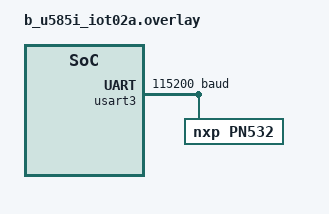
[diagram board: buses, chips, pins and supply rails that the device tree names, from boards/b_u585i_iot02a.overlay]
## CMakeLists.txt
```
# SPDX-License-Identifier: Apache-2.0

cmake_minimum_required(VERSION 3.20.0)
find_package(Zephyr REQUIRED HINTS $ENV{ZEPHYR_BASE})
project(zephyr_nfc_hce)

if (CONFIG_NETWORKING)
  include(${ZEPHYR_BASE}/samples/net/common/common.cmake)
endif()

target_sources(app PRIVATE
    src/main.c
    src/web.c
)

zephyr_sources_ifdef(APP_AUTH_ENABLED src/auth.c)
zephyr_sources_ifdef(APP_WEB_ENABLED src/web.c)
zephyr_sources_ifdef(APP_SOCKET_SERVER_ENABLED src/socket_server.c)

zephyr_linker_sources(SECTIONS sections-rom.ld)
zephyr_linker_section(NAME http_resource_desc_web_service KVMA RAM_REGION GROUP RODATA_REGION)

set(gen_dir ${ZEPHYR_BINARY_DIR}/include/generated/)

find_program(PURGECSS_EXECUTABLE purgecss)

if(NOT PURGECSS_EXECUTABLE)
    message(FATAL_ERROR "purgecss not found")
endif()

set(PURGED_BOOTSTRAP ${CMAKE_BINARY_DIR}/bootstrap.purged.min.css)

add_custom_command(
    OUTPUT ${PURGED_BOOTSTRAP}
    COMMAND ${PURGECSS_EXECUTABLE}
        --css ${CMAKE_CURRENT_SOURCE_DIR}/web/bootstrap.min.css
        --content
            ${CMAKE_CURRENT_SOURCE_DIR}/web/index.html
            ${CMAKE_CURRENT_SOURCE_DIR}/web/script.js
        --safelist bg-danger text-white
        --output ${PURGED_BOOTSTRAP}
    DEPENDS
        ${CMAKE_CURRENT_SOURCE_DIR}/web/bootstrap.min.css
        ${CMAKE_CURRENT_SOURCE_DIR}/web/index.html
        ${CMAKE_CURRENT_SOURCE_DIR}/web/script.js
)

set(source_file_index web/index.html)
generate_inc_file_for_target(app ${source_file_index} ${gen_dir}/index.html.gz.inc --gzip)

set(source_file_bootstrap_purged_min_css ${PURGED_BOOTSTRAP})
generate_inc_file_for_target(app ${source_file_bootstrap_purged_min_css} ${gen_dir}/bootstrap.purged.min.css.gz.inc --gzip)

set(source_file_style web/style.css)
generate_inc_file_for_target(app ${source_file_style} ${gen_dir}/style.css.gz.inc --gzip)

set(source_file_script web/script.js)
generate_inc_file_for_target(app ${source_file_script} ${gen_dir}/script.js.gz.inc --gzip)
```

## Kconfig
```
menu "App Options"

config APP_AUTH
    bool "Enable auth application"
    default y
    help
        Enable this to activate and include auth application in the build

config APP_WEB
    bool "Enable web application"
    default y
    help
        Enable this to activate and include web application in the build

config APP_SOCKET_SERVER
    bool "Enable socket server application"
    default y
    help
        Enable this to activate and include socket server application in the build

endmenu # App Options

source "Kconfig.zephyr"
```

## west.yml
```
manifest:

  defaults:
    remote: zephyrproject

  remotes:
    - name: zephyrproject
      url-base: https://github.com/zephyrproject-rtos

    - name: bytefull
      url-base: https://github.com/bytefull

  projects:
    - name: zephyr
      repo-path: zephyr
      revision: v4.4.0
      path: zephyr
      import:
        path-prefix: dependencies
        name-allowlist:
          - cmsis_6
          - hal_stm32
          - tf-psa-crypto
          - mbedtls

    - name: pn532
      remote: bytefull
      revision: main
      repo-path: pn532
      path: dependencies/modules/pn532
      import: true

  self:
    path: application
```

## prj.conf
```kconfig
# Apps
CONFIG_APP_AUTH=n
CONFIG_APP_WEB=y
CONFIG_APP_SOCKET_SERVER=n

# Logging
CONFIG_LOG=y
CONFIG_LOG_INFO_COLOR_GREEN=y
CONFIG_LOG_DBG_COLOR_BLUE=y
CONFIG_LOG_OUTPUT_FORMAT_TIME_TIMESTAMP=y
CONFIG_LOG_OUTPUT_FORMAT_DATE_TIMESTAMP=y

# UART
CONFIG_SERIAL=y
CONFIG_UART_INTERRUPT_DRIVEN=y

# Shell
CONFIG_SHELL=y
CONFIG_KERNEL_SHELL=y

# Debugging
CONFIG_DEBUG=y
CONFIG_DEBUG_THREAD_INFO=y
CONFIG_NO_OPTIMIZATIONS=y
CONFIG_SIZE_OPTIMIZATIONS=n
CONFIG_THREAD_STACK_INFO=y
CONFIG_COMPILER_WARNINGS_AS_ERRORS=y
CONFIG_INIT_STACKS=y
CONFIG_STACK_USAGE=y
CONFIG_EARLY_CONSOLE=y
CONFIG_ENTROPY_GENERATOR=y
CONFIG_TEST_RANDOM_GENERATOR=y

# PN532 NFC module
# CONFIG_PN532=y
# CONFIG_PN532_LOG_LEVEL=0

# Hardware Entropy for Nonce generation
CONFIG_ENTROPY_GENERATOR=y

# Enable PSA Crypto API
CONFIG_MBEDTLS=y
CONFIG_MBEDTLS_PSA_CRYPTO_C=y
CONFIG_MBEDTLS_PSA_P256M_DRIVER_ENABLED=y

# PSA Features for ECDSA P-256
CONFIG_PSA_CRYPTO=y
CONFIG_PSA_WANT_KEY_TYPE_ECC_PUBLIC_KEY=y
CONFIG_PSA_WANT_ECC_SECP_R1_256=y
CONFIG_PSA_WANT_ALG_ECDSA=y
CONFIG_PSA_WANT_ALG_SHA_256=y

########################### Network configuration options ###########################
# Generic networking options
CONFIG_NETWORKING=y
CONFIG_NET_LOG=y
CONFIG_NET_SHELL=y
CONFIG_NET_UDP=y
CONFIG_NET_TCP=y
CONFIG_NET_IPV6=n
CONFIG_NET_IPV4=y
CONFIG_NET_SOCKETS=y
CONFIG_NET_STATISTICS=y
CONFIG_NET_CONNECTION_MANAGER=y

# Network buffers
CONFIG_NET_PKT_RX_COUNT=16
CONFIG_NET_PKT_TX_COUNT=16
CONFIG_NET_BUF_RX_COUNT=128
CONFIG_NET_BUF_TX_COUNT=128
CONFIG_NET_CONTEXT_NET_PKT_POOL=y

# IP address options
CONFIG_NET_MAX_CONTEXTS=32
CONFIG_NET_MAX_CONN=32

# Network application options and configuration
CONFIG_NET_CONFIG_SETTINGS=y
CONFIG_NET_CONFIG_NEED_IPV4=y
CONFIG_NET_CONFIG_MY_IPV4_ADDR="192.0.2.1"
CONFIG_NET_CONFIG_PEER_IPV4_ADDR="192.0.2.2"

# HTTP server
CONFIG_HTTP_PARSER_URL=y
CONFIG_HTTP_PARSER=y
CONFIG_HTTP_SERVER=y
CONFIG_HTTP_SERVER_CLIENT_BUFFER_SIZE=8192
CONFIG_NET_HTTP_SERVER_LOG_LEVEL_DBG=n
CONFIG_HTTP_SERVER_VERSION_1=y
CONFIG_HTTP_SERVER_VERSION_2=n
CONFIG_HTTP_SERVER_CLIENT_INACTIVITY_TIMEOUT=5
CONFIG_HTTP_SERVER_MAX_CLIENTS=8

# General config
CONFIG_ZVFS_POLL_MAX=32

# Eventfd
CONFIG_EVENTFD=y

# Network debug config
CONFIG_NET_SOCKETS_LOG_LEVEL_DBG=y
CONFIG_NET_HTTP_LOG_LEVEL_DBG=y
CONFIG_NET_IPV4_LOG_LEVEL_DBG=n
```

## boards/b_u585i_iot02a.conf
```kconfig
# Debugging
CONFIG_DEBUG_COREDUMP=y
```

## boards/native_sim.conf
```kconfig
# I/O redirect
CONFIG_UART_NATIVE_PTY_0_ON_STDINOUT=y

# GPIO
CONFIG_GPIO=y

# Networking (offloaded)
CONFIG_ETH_NATIVE_TAP=n
CONFIG_NET_DRIVERS=y
CONFIG_NET_SOCKETS=y
CONFIG_NET_SOCKETS_OFFLOAD=y
CONFIG_NET_NATIVE_OFFLOADED_SOCKETS=y
CONFIG_HEAP_MEM_POOL_SIZE=131072

# HTTP Server
CONFIG_SYSTEM_WORKQUEUE_STACK_SIZE=4096
CONFIG_HTTP_SERVER_STACK_SIZE=4096
```

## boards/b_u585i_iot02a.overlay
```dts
&usart3 {
    status = "okay";
    current-speed = <115200>;

    pn532 {
        compatible = "nxp,pn532";
    };
};
```

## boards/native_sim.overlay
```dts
// &uart1 {
//     status = "okay";
//     compatible = "zephyr,native-tty-uart";
//     current-speed = <115200>;
//     serial-port = "/dev/ttyUSB0";
//     pn532 {
//         compatible = "nxp,pn532";
//     };
// };
```

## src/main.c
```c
/*
 * Copyright (c) 2026 Bayrem Gharsellaoui
 * SPDX-License-Identifier: Apache-2.0
 */

#include <zephyr/kernel.h>
#include <zephyr/device.h>
#include <zephyr/logging/log.h>
LOG_MODULE_REGISTER(main, LOG_LEVEL_DBG);

int main(void)
{
	LOG_INF("Main started...");

	while (1) {
		k_msleep(2000);
	}

	return 0;
}

/**
 * @brief Zephyr fatal error handler.
 *
 * This function is called by the kernel when a fatal error occurs,
 * such as CPU exceptions, stack overflows, or kernel panics.
 * It logs the error details, including the faulting thread if available,
 * and halts the system.
 *
 * @param reason The reason code for the fatal error (see k_sys_fatal_error_handler documentation).
 * @param esf Pointer to the architecture-specific exception stack frame (may be NULL).
 */
void k_sys_fatal_error_handler(unsigned int reason, const struct arch_esf *esf)
{
	ARG_UNUSED(esf);
	struct k_thread *faulting_thread = NULL;

	switch (reason) {
	case K_ERR_CPU_EXCEPTION: {
		LOG_ERR("Generic CPU exception, not covered by other codes");
		break;
	}
	case K_ERR_SPURIOUS_IRQ: {
		LOG_ERR("Unhandled hardware interrupt");
		break;
	}
	case K_ERR_STACK_CHK_FAIL: {
		LOG_ERR("Faulting context overflowed its stack buffer");
		/* Get the current thread that caused the fault */
		faulting_thread = k_current_get();
		if (faulting_thread) {
			LOG_ERR("Fault occurred in thread: %s", k_thread_name_get(faulting_thread));
			LOG_ERR("Thread ID: %p", (void *)faulting_thread);
			LOG_ERR("Stack start: %p, size: %zu",
				(void *)faulting_thread->stack_info.start,
				faulting_thread->stack_info.size);
		} else {
			LOG_ERR("Could not determine faulting thread");
		}
		break;
	}
	case K_ERR_KERNEL_OOPS: {
		LOG_ERR("Moderate severity software error");
		break;
	}
	case K_ERR_KERNEL_PANIC: {
		LOG_ERR("High severity software error");
		break;
	}
	case K_ERR_ARCH_START: {
		LOG_ERR("Arch specific fatal errors");
		break;
	}
	default: {
		LOG_ERR("Unknow reason for fatal error (%d)", reason);
		break;
	}
	}

	/* Disable interrupts and halt the system */
	arch_irq_lock();
	for (;;) { /* Spin endlessly */
	}
}
```

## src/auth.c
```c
/*
 * Copyright (c) 2026 Bayrem Gharsellaoui
 * SPDX-License-Identifier: Apache-2.0
 */

#include <zephyr/kernel.h>
#include <zephyr/logging/log.h>
LOG_MODULE_REGISTER(auth, LOG_LEVEL_DBG);

#include <psa/crypto.h>
#include <psa/crypto_values.h>

#include "pn532.h"

#define NONCE_SIZE             32
#define APDU_RESPONSE_MAX_SIZE 255

static int verify_android_signature(const uint8_t *nonce, const uint8_t *signature, size_t sig_len);

static void auth_thread_entry(void *p1, void *p2, void *p3);
K_THREAD_DEFINE(auth_thread, 4096, auth_thread_entry, NULL, NULL, NULL, 8, 0, 0);

/*
 * SELECT APDU (AID selection)
 * AID = F123456789ABCDE1 (8 bytes)
 */
static const uint8_t SELECT_APDU_CMD[] = {
	0x00,                                           /* CLA (Standard) */
	0xA4,                                           /* INS (SELECT) */
	0x04,                                           /* P1 (select by AID) */
	0x00,                                           /* P2 */
	0x08,                                           /* Lc: length = 8 bytes */
	0xF1, 0x23, 0x45, 0x67, 0x89, 0xAB, 0xCD, 0xE1, /* AID (F123456789ABCDE1) */
	0x00                                            /* Le */
};

/*
 * CHALLENGE APDU header (to request signature of the nonce from the Android device)
 */
static const uint8_t CHALLENGE_APDU_HEADER[] = {
	0x80, /* CLA (Proprietary) */
	0x10, /* INS (Challenge) */
	0x00, /* P1 */
	0x00, /* P2 */
	0x20  /* Lc (32 bytes) */
};

/*
 * Authorized public key (uncompressed format, 65 bytes: 0x04 || X || Y)
 * Corresponds to the private key used by the Android device to sign the nonce.
 */
static const uint8_t AUTHORIZED_PUBLIC_KEY[] = {
	0x04, 0x89, 0x04, 0x9e, 0xbd, 0x0a, 0x86, 0xfd, 0x4d, 0xa3, 0x64, 0x82, 0x11,
	0x20, 0xa6, 0x23, 0x57, 0x57, 0x31, 0x2a, 0xeb, 0x11, 0xc1, 0x85, 0x71, 0x68,
	0xc7, 0x5d, 0x6f, 0x9a, 0x92, 0xb3, 0x9d, 0x67, 0x44, 0x3a, 0x1e, 0x7b, 0xd2,
	0x72, 0x4c, 0x00, 0x36, 0x00, 0x30, 0xa0, 0xf1, 0x77, 0x1e, 0x13, 0x88, 0x65,
	0xc2, 0xf7, 0xbc, 0x00, 0xcd, 0x1e, 0x1b, 0xcc, 0x67, 0x1e, 0xd6, 0x55, 0xaf};

static void auth_thread_entry(void *p1, void *p2, void *p3)
{
	ARG_UNUSED(p1);
	ARG_UNUSED(p2);
	ARG_UNUSED(p3);

	const struct device *pn532_dev = DEVICE_DT_GET_ONE(nxp_pn532);
	uint8_t nonce[NONCE_SIZE] = {0};
	uint8_t challenge_apdu[sizeof(CHALLENGE_APDU_HEADER) + sizeof(nonce)] = {0};
	uint8_t response[APDU_RESPONSE_MAX_SIZE] = {0};
	uint8_t resp_len = 0;

	if (psa_crypto_init() != PSA_SUCCESS) {
		LOG_ERR("PSA Crypto init failed");
		return 0;
	}

	if (!device_is_ready(pn532_dev)) {
		LOG_ERR("PN532 device not ready");
		return 0;
	}

	LOG_INF("System ready. Waiting for NFC target...");

	while (1) {
		/* 1. DISCOVERY */
		if (pn532_in_list_passive_target(pn532_dev) < 0) {
			k_msleep(200);
			continue;
		}
		LOG_INF("Target detected");

		/* 2. SELECT AID */
		resp_len = sizeof(response);
		if (pn532_in_data_exchange(pn532_dev, (uint8_t *)SELECT_APDU_CMD,
					   sizeof(SELECT_APDU_CMD), response, &resp_len) < 0) {
			LOG_WRN("AID selection failed");
			continue;
		}

		if ((resp_len < 2) || (response[resp_len - 2] != 0x90) ||
		    (response[resp_len - 1] != 0x00)) {
			LOG_WRN("AID rejected");
			continue;
		}

		LOG_INF("Received SELECT AID response");
		LOG_HEXDUMP_DBG(response, resp_len, "Response:");

		LOG_INF("AID selected");

		/* 3. GENERATE NONCE */
		if (psa_generate_random(nonce, sizeof(nonce)) != PSA_SUCCESS) {
			LOG_ERR("Failed to generate nonce");
			continue;
		}
		LOG_HEXDUMP_DBG(nonce, sizeof(nonce),
				"Generated " STRINGIFY(NONCE_SIZE) "-byte nonce:");

		/* Build challenge APDU */
		memcpy(challenge_apdu, CHALLENGE_APDU_HEADER, sizeof(CHALLENGE_APDU_HEADER));
		memcpy(challenge_apdu + sizeof(CHALLENGE_APDU_HEADER), nonce, sizeof(nonce));

		/* Send challenge APDU and receive response */
		resp_len = sizeof(response);
		if (pn532_in_data_exchange(pn532_dev, challenge_apdu, sizeof(challenge_apdu),
					   response, &resp_len) < 0) {
			LOG_ERR("Challenge failed");
			continue;
		}

		LOG_INF("Received signature response");
		LOG_DBG("Response length: %d bytes", resp_len);
		LOG_HEXDUMP_DBG(response, resp_len, "Response:");

		/* 4. VERIFY RESPONSE */
		if (resp_len >= 2) {
			if ((response[resp_len - 2] != 0x90) || (response[resp_len - 1] != 0x00)) {
				LOG_WRN("Invalid response format");
				continue;
			}
		} else {
			LOG_WRN("Signature response too short");
			continue;
		}

		const uint8_t *signature = response;
		/* -2 to exclude the status words (SW1, SW2) at the end of the response */
		size_t sig_len = resp_len - 2;

		LOG_INF("Verifying signature...");

		if (verify_android_signature(nonce, signature, sig_len) < 0) {
			LOG_ERR("AUTH FAILED (signature invalid)");
			continue;
		}

		LOG_INF("AUTH SUCCESS (verified signature)");

		k_msleep(2000);
	}
}

static int verify_android_signature(const uint8_t *nonce, const uint8_t *signature, size_t sig_len)
{
	psa_status_t status;
	mbedtls_svc_key_id_t key_id;
	psa_key_attributes_t attributes = PSA_KEY_ATTRIBUTES_INIT;

	/* 1. Setup Key Attributes */
	psa_set_key_type(&attributes, PSA_KEY_TYPE_ECC_PUBLIC_KEY(PSA_ECC_FAMILY_SECP_R1));
	psa_set_key_algorithm(&attributes, PSA_ALG_ECDSA(PSA_ALG_SHA_256));
	psa_set_key_usage_flags(&attributes, PSA_KEY_USAGE_VERIFY_MESSAGE);

	/* 2. Import Public Key */
	status = psa_import_key(&attributes, AUTHORIZED_PUBLIC_KEY, sizeof(AUTHORIZED_PUBLIC_KEY),
				&key_id);
	if (status != PSA_SUCCESS) {
		LOG_ERR("Key import failed (%d)", status);
		return -1;
	}

	/* 3. Verify Signature */
	status = psa_verify_message(key_id, PSA_ALG_ECDSA(PSA_ALG_SHA_256), nonce, NONCE_SIZE,
				    signature, sig_len);
	if (status != PSA_SUCCESS) {
		LOG_ERR("Signature verification failed (%d)", status);
		/* Destroy the key before returning */
	}

	psa_destroy_key(key_id);

	return (status == PSA_SUCCESS) ? 0 : -1;
}
```

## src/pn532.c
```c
#include <zephyr/kernel.h>
#include <zephyr/device.h>
#include <zephyr/drivers/uart.h>
#include <zephyr/sys/ring_buffer.h>
#include <zephyr/logging/log.h>
LOG_MODULE_REGISTER(pn532, LOG_LEVEL_DBG);

#include "pn532.h"

/* PN532 frame fields */
#define PN532_PREAMBLE    (0x00) /* Command sequence start, byte 1/3 */
#define PN532_STARTCODE1  (0x00) /* Command sequence start, byte 2/3 */
#define PN532_STARTCODE2  (0xFF) /* Command sequence start, byte 3/3 */
#define PN532_POSTAMBLE   (0x00) /* EOD */
#define PN532_HOSTTOPN532 (0xD4) /* Host-to-PN532 */
#define PN532_PN532TOHOST (0xD5) /* PN532-to-host */

/* PN532 Commands */
#define PN532_COMMAND_GETFIRMWAREVERSION  (0x02) /* Get firmware version */
#define PN532_COMMAND_SAMCONFIGURATION    (0x14) /* SAM configuration */
#define PN532_COMMAND_INLISTPASSIVETARGET (0x4A) /* List passive target */
#define PN532_COMMAND_INDATAEXCHANGE      (0x40) /* Data exchange */
#define PN532_COMMAND_SETSERIALBAUDRATE   (0x10) /* Set serial baud rate */

/* PN532 Responses */
#define PN532_RESPONSE_INLISTPASSIVETARGET (0x4B) /* List passive target */
#define PN532_RESPONSE_INDATAEXCHANGE      (0x41) /* Data exchange */
#define PN532_RESPONSE_SETSERIALBAUDRATE   (0x11) /* Set serial baud rate */
#define PN532_RESPONSE_GETFIRMWAREVERSION  (0x03) /* Get firmware version */

/**
 * @brief Baud rate values for the PN532.
 * BR is a byte indicating the baud rate requested by the host controller:
 *     − 0x00: 9.6 kbaud,
 *     − 0x01: 19.2 kbaud,
 *     − 0x02: 38.4 kbaud,
 *     − 0x03: 57.6 kbaud,
 *     − 0x04: 115.2 kbaud,
 *     − 0x05: 230.4 kbaud,
 *     − 0x06: 460.8 kbaud,
 *     − 0X07: 921.6 kbaud,
 *     − 0x08: 1.288 Mbaud.
 */
#define PN532_BAUDRATE_9600    (0x00) /* 9.6 kbaud */
#define PN532_BAUDRATE_19200   (0x01) /* 19.2 kbaud */
#define PN532_BAUDRATE_38400   (0x02) /* 38.4 kbaud */
#define PN532_BAUDRATE_57600   (0x03) /* 57.6 kbaud */
#define PN532_BAUDRATE_115200  (0x04) /* 115.2 kbaud */
#define PN532_BAUDRATE_230400  (0x05) /* 230.4 kbaud */
#define PN532_BAUDRATE_460800  (0x06) /* 460.8 kbaud */
#define PN532_BAUDRATE_921600  (0x07) /* 921600 baud */
#define PN532_BAUDRATE_1288000 (0x08) /* 1.288 Mbaud */

#define PN532_DEFAULT_BAUDRATE (PN532_BAUDRATE_115200)

/* Maximum size of a PN532 frame (including header and checksum) */
#define PN532_MAX_FRAME_SIZE (64)

/* Expected firmware version message from PN532 */
static const uint8_t PN532_EXPECTED_FIRMWARE_VERSION[] = {
    0x00, 0x00, 0xFF, 0x06, 0xFA, 0xD5
};

/* ACK frame */
static const uint8_t PN532_ACK[] = {
    0x00, /* Preamble */
    0x00, /* Start code 1 */
    0xFF, /* Start code 2 */
    0x00, /* LEN  = 0 (no payload) */
    0xFF, /* LCS  = 0x100 - LEN = 0x100 - 0x00 = 0xFF */
    0x00  /* Postamble */
};

/* Wake-up sequence */
static const uint8_t PN532_WAKEUP_SEQ[] = {
    0x55, /* Dummy byte (wakeup pattern, generates clock edges) */
    0x55, /* Dummy byte (ensures PN532 exits power-down) */
    0x00, /* Preamble (start of a "fake" frame) */
    0x00, /* Start code 1 */
    0x00  /* (Not a valid frame, just padding / noise) */
};

/* UART device instance */
static const struct device *uart_dev = DEVICE_DT_GET(DT_ALIAS(pn532_uart));

/* Buffer for building commands to send to PN532 */
static uint8_t pn532_tx_buffer[PN532_MAX_FRAME_SIZE] = {0};

/* RX ring buffer for storing incoming data from PN532 */
RING_BUF_DECLARE(pn532_rx_ring_buffer, 256);

/* Tg number of inlisted tag */
static int8_t in_listed_tag = -1;

static void pn532_uart_rx_cb(const struct device *dev, void *user_data)
{
    ARG_UNUSED(user_data);
    int len = 0;
    uint8_t chunk[32] = {0};

    if (dev == NULL) {
        LOG_ERR("Invalid UART device in callback");
        return;
    }

    if (dev != uart_dev) {
        LOG_ERR("Interrupt from unknown UART device");
        return;
    }

    if (!uart_irq_update(dev)) {
        return;
    }

    if (!uart_irq_rx_ready(dev)) {
        return;
    }

    len = uart_fifo_read(dev, chunk, sizeof(chunk));
    if (len <= 0) {
        LOG_WRN("No bytes found in UART FIFO");
        return;
    }
    LOG_HEXDUMP_DBG(chunk, len, "RX chunk");

    if (ring_buf_put(&pn532_rx_ring_buffer, chunk, len) != len) {
        LOG_ERR("Failed to put %d bytes into RX ring buffer", len);
        return;
    }
}

static void pn532_uart_send(const uint8_t *data, size_t len)
{
    if (data == NULL) {
        LOG_ERR("Invalid data buffer");
        return;
    }
    if (len == 0) {
        LOG_ERR("Invalid data length");
        return;
    }

    for (size_t i = 0; i < len; i++) {
        uart_poll_out(uart_dev, data[i]);
    }

    LOG_HEXDUMP_DBG(data, len, "TX");
}

static bool pn532_wait_for_rx(size_t expected_len, int timeout_ms)
{
    int64_t end = k_uptime_get() + timeout_ms;

    while (k_uptime_get() < end) {
        uint32_t rx_len = ring_buf_size_get(&pn532_rx_ring_buffer);
        if (rx_len >= expected_len) {
            return true;
        }
        k_sleep(K_USEC(100));
    }

    return false;
}

static bool pn532_write_command(uint8_t *cmd, uint8_t cmd_len) {
    /* Check if the command buffer is valid */
    if (cmd == NULL) {
        LOG_ERR("Invalid command buffer");
        return false;
    }

    /* Check if the command length is valid */
    if (cmd_len == 0) {
        LOG_ERR("Invalid command length");
        return false;
    }

    /* Allocate full frame: 8 bytes overhead + command length */
    uint8_t frame[8 + cmd_len];

    /* The length should be the command length plus 1 for TFI */
    uint8_t len = cmd_len + 1;

    /* Frame header */
    frame[0] = PN532_PREAMBLE;
    frame[1] = PN532_STARTCODE1;
    frame[2] = PN532_STARTCODE2;

    /* Frame length and length checksum */
    frame[3] = len;
    frame[4] = ~len + 1;

    /* Frame identifier */
    frame[5] = PN532_HOSTTOPN532;

    /*
     * Copy command payload into frame and compute checksum
     * Checksum is computed over TFI + DATA
     */
    uint8_t sum = 0;
    for (uint8_t i = 0; i < cmd_len; i++) {
      frame[6 + i] = cmd[i];
      sum += cmd[i];
    }
    frame[6 + cmd_len] = ~(PN532_HOSTTOPN532 + sum) + 1;

    /* Postamble */
    frame[7 + cmd_len] = PN532_POSTAMBLE;

    /* Send the complete frame */
    pn532_uart_send(frame, 8 + cmd_len);

    return true;
}

static bool pn532_send_command(const uint8_t *cmd, size_t cmd_len, int timeout_ms)
{
    uint8_t ack[sizeof(PN532_ACK)] = {0};
    uint32_t len = 0;

    if (cmd == NULL) {
        LOG_ERR("Invalid command buffer");
        return false;
    }

    if (cmd_len == 0) {
        LOG_ERR("Invalid command length");
        return false;
    }

    /* Flush the RX ring buffer each time we want to send a command */
    ring_buf_reset(&pn532_rx_ring_buffer);

    /* Send command */
    if (!pn532_write_command((uint8_t *)cmd, cmd_len)) {
        return false;
    }

    /* Wait for 6 bytes of ACK */
    if (!pn532_wait_for_rx(sizeof(ack), timeout_ms)) {
        LOG_ERR("Timeout waiting for ACK");
        return false;
    }

    /* Read the ACK bytes */
    len = ring_buf_get(&pn532_rx_ring_buffer, ack, sizeof(ack));
    if (len != sizeof(ack)) {
        LOG_ERR("Failed to read ACK, expected %d bytes but got %d", sizeof(ack), len);
        return false;
    }

    /* Check if the received bytes match the expected ACK */
    if (memcmp(ack, PN532_ACK, sizeof(PN532_ACK)) != 0) {
        LOG_ERR("Invalid ACK");
        return false;
    }
    LOG_DBG("ACK received");

    /* Did the response already start arriving right after reading the ACK? */
    if (ring_buf_size_get(&pn532_rx_ring_buffer)) {
        LOG_DBG("Response already started arriving right after ACK");
        return true;
    }

    /* Otherwise wait for a little bit more for the response to arrive */
    if (!pn532_wait_for_rx(1, timeout_ms)) {
        LOG_ERR("Timeout waiting for response");
        return false;
    }

    LOG_DBG("Response received");
    return true;
}

void pn532_init(void) {
    if (!device_is_ready(uart_dev)) {
        LOG_ERR("UART device not ready");
        return;
    }

    /* Set up UART RX interrupt */
    uart_irq_callback_set(uart_dev, pn532_uart_rx_cb);
    uart_irq_rx_enable(uart_dev);

    LOG_DBG("PN532 UART initialized");
}

void pn532_wakeup(void) {
    LOG_DBG("Sending wakeup command");
    pn532_uart_send(PN532_WAKEUP_SEQ, sizeof(PN532_WAKEUP_SEQ));
#if !defined(CONFIG_BOARD_NATIVE_SIM)
    k_msleep(2);
#endif
}

bool pn532_sam_config(void) {
    LOG_DBG("Sending SAMConfig command");
    pn532_tx_buffer[0] = PN532_COMMAND_SAMCONFIGURATION;
    pn532_tx_buffer[1] = 0x01; // normal mode;
    pn532_tx_buffer[2] = 0x14; // timeout 50ms * 20 = 1 second
    pn532_tx_buffer[3] = 0x01; // use IRQ pin!
    if (!pn532_send_command(pn532_tx_buffer, 4, 100)) {
        return false;
    }
    /* Wait for a little bit until we receive the 9 bytes: size of the SAMConfig response */
    if (!pn532_wait_for_rx(9, 100)) {
        LOG_ERR("Timeout waiting for SAMConfig response");
        return false;
    }
    /* Read the SAMConfig response */
    uint8_t response_buf[9] = {0};
    if (ring_buf_get(&pn532_rx_ring_buffer, response_buf, 9) != 9) {
        LOG_ERR("Failed to read SAMConfig response");
        return false;
    }
    /* Verify response buffer */
    if ((response_buf[0] != PN532_PREAMBLE) ||
        (response_buf[1] != PN532_STARTCODE1) ||
        (response_buf[2] != PN532_STARTCODE2)) {
        LOG_ERR("Preamble missing");
        return false;
    }
    /* I don't know what is byte 4 used for */
    if (response_buf[5] != PN532_PN532TOHOST) {
        LOG_ERR("Invalid SAMConfig response: 0x%02X", response_buf[5]);
        return false;
    }
    if (response_buf[6] != 0x15) {
        LOG_ERR("Invalid SAMConfig response: 0x%02X", response_buf[6]);
        return false;
    }

    LOG_DBG("SAMConfig OK");
    return true;
}

bool pn532_set_serial_baudrate(uint32_t baudrate) {
    uint8_t baudrate_code;

    switch (baudrate)
    {
    case 9600:
        baudrate_code = PN532_BAUDRATE_9600;
        break;
    case 19200:
        baudrate_code = PN532_BAUDRATE_19200;
        break;
    case 38400:
        baudrate_code = PN532_BAUDRATE_38400;
        break;
    case 57600:
        baudrate_code = PN532_BAUDRATE_57600;
        break;
    case 115200:
        baudrate_code = PN532_BAUDRATE_115200;
        break;
    case 230400:
        baudrate_code = PN532_BAUDRATE_230400;
        break;
    case 460800:
        baudrate_code = PN532_BAUDRATE_460800;
        break;
    case 921600:
        baudrate_code = PN532_BAUDRATE_921600;
        break;
    default:
        LOG_ERR("Unsupported baud rate: %d", baudrate);
        return false;
    }

    LOG_DBG("Sending SetSerialBaudRate command");
    pn532_tx_buffer[0] = PN532_COMMAND_SETSERIALBAUDRATE;
    pn532_tx_buffer[1] = baudrate_code;
    if (!pn532_send_command(pn532_tx_buffer, 2, 100)) {
        return false;
    }
    /* Wait for a little bit until we receive the 8 bytes: size of the SetSerialBaudRate response */
    if (!pn532_wait_for_rx(8, 100)) {
        LOG_ERR("Timeout waiting for SetSerialBaudRate response");
        return false;
    }
    // /* Read the SetSerialBaudRate response */
    uint8_t response_buf[8] = {0};
    if (ring_buf_get(&pn532_rx_ring_buffer, response_buf, 8) != 8) {
        LOG_ERR("Failed to read SetSerialBaudRate response");
        return false;
    }
    /* Verify response buffer */
    if ((response_buf[0] != PN532_PREAMBLE) ||
        (response_buf[1] != PN532_STARTCODE1) ||
        (response_buf[2] != PN532_STARTCODE2)) {
        LOG_ERR("Preamble missing");
        return false;
    }

    if ((response_buf[5] != PN532_PN532TOHOST ) ||
        (response_buf[6] != PN532_RESPONSE_SETSERIALBAUDRATE)) {
        LOG_ERR("Invalid SetSerialBaudRate response: 0x%02X", response_buf[5]);
        return false;
    }

    /* Per datasheet: PN532 switches AFTER receiving our ACK.
     * Send ACK at 115200, then switch host side. */
    pn532_uart_send(PN532_ACK, sizeof(PN532_ACK));

    /* Wait >= 200 µs as required by the datasheet before next command */
    k_usleep(500);

    /* Switch host UART to the new baud rate */
    struct uart_config cfg = {0};
    int ret = uart_config_get(uart_dev, &cfg);
    if (ret) {
        LOG_ERR("uart_config_get failed: %d", ret);
        return false;
    }
    cfg.baudrate = baudrate;
    ret = uart_configure(uart_dev, &cfg);
    if (ret) {
        LOG_ERR("uart_configure(%d) failed: %d", baudrate, ret);
        return false;
    }
    LOG_INF("Host UART switched to %d", baudrate);

    /* Flush any garbage from the baud-rate transition */
    k_msleep(2);

    LOG_DBG("SetSerialBaudRate OK");
    return true;
}


bool pn532_get_firmware_version(struct pn532_fw_version *fw_version) {
    if (fw_version == NULL) {
        LOG_ERR("Invalid firmware version struct pointer");
        return false;
    }
    LOG_DBG("Sending GetFirmwareVersion command");
    pn532_tx_buffer[0] = PN532_COMMAND_GETFIRMWAREVERSION;
    if (!pn532_send_command(pn532_tx_buffer, 1, 1000)) {
        return false;
    }
    /* Wait for a little bit until we receive the 13 bytes of the GetFirmwareVersion response */
    if (!pn532_wait_for_rx(13, 100)) {
        LOG_ERR("Timeout waiting for GetFirmwareVersion response");
        return false;
    }
    /* Read the GetFirmwareVersion response */
    uint8_t response_buf[13] = {0};
    if (ring_buf_get(&pn532_rx_ring_buffer, response_buf, 13) != 13) {
        LOG_ERR("Failed to read GetFirmwareVersion response");
        return false;
    }
    /* Verify response buffer */
    if ((response_buf[5] != PN532_PN532TOHOST) ||
        (response_buf[6] != PN532_RESPONSE_GETFIRMWAREVERSION)) {
        LOG_ERR("Unexpected response to GetFirmwareVersion");
        return false;
    }
    if (memcmp(response_buf,
               PN532_EXPECTED_FIRMWARE_VERSION,
               sizeof(PN532_EXPECTED_FIRMWARE_VERSION)) != 0) {
        LOG_ERR("Unexpected firmware version response");
        return false;
    }

    fw_version->ic = response_buf[7];
    fw_version->ver = response_buf[8];
    fw_version->rev = response_buf[9];
    LOG_DBG("GetFirmwareVersion OK");
    return true;
}

bool pn532_in_list_passive_target() {
    LOG_DBG("Sending InListPassiveTarget command");
    pn532_tx_buffer[0] = PN532_COMMAND_INLISTPASSIVETARGET;
    pn532_tx_buffer[1] = 0x01;
    pn532_tx_buffer[2] = 0x00;
    if (!pn532_send_command(pn532_tx_buffer, 3, 1200)) {
        return false;
    }
    /* Wait for a little bit until we receive the 24 bytes of the InListPassiveTarget response */
    if (!pn532_wait_for_rx(24, 1200)) {
        LOG_ERR("Timeout waiting for InListPassiveTarget response");
        return false;
    }
    /* Read the inListPassiveTarget response */
    uint8_t response_buf[24] = {0};
    if (ring_buf_get(&pn532_rx_ring_buffer, response_buf, 24) != 24) {
        LOG_ERR("Failed to read inListPassiveTarget response");
        return false;
    }
    /* Verify response preamble */
    if ((response_buf[0] != PN532_PREAMBLE) ||
        (response_buf[1] != PN532_STARTCODE1) ||
        (response_buf[2] != PN532_STARTCODE2)) {
        LOG_ERR("Preamble missing");
        return false;
    }
    /* Verify response length */
    uint8_t length = response_buf[3];
    if (response_buf[4] != (uint8_t)(~length + 1)) {
        LOG_ERR("Length check invalid");
        LOG_DBG("Expected: 0x%02X, Got: 0x%02X", (uint8_t)(~length + 1), response_buf[4]);
        return false;
    }
    /* Verify response code */
    if ((response_buf[5] != PN532_PN532TOHOST) ||
        (response_buf[6] != PN532_RESPONSE_INLISTPASSIVETARGET)) {
        LOG_ERR("Unexpected response to inlist passive host");
        return false;
    }
    /* Verify number of targets inlisted */
    if (response_buf[7] != 1) {
        LOG_ERR("Unhandled number of targets inlisted");
        LOG_DBG("Number of tags inlisted: 0x%02X", response_buf[7]);
        return false;
    }
    /* Save the listed tag */
    in_listed_tag = response_buf[8];
    LOG_DBG("Tag number: %d", in_listed_tag);
    LOG_DBG("InListPassiveTarget OK");
    return true;
}

bool pn532_in_data_exchange(uint8_t *send, uint8_t sendLength, uint8_t *response, uint8_t *responseLength) {
    if (send == NULL) {
        LOG_ERR("Invalid command buffer");
        return false;
    }

    if (sendLength == 0) {
        LOG_ERR("Invalid command length");
        return false;
    }

    if (response == NULL) {
        LOG_ERR("Invalid response buffer");
        return false;
    }

    if ((responseLength == NULL) || (*responseLength == 0)) {
        LOG_ERR("Invalid response length");
        return false;
    }

    LOG_DBG("Sending InDataExchange command");
    pn532_tx_buffer[0] = PN532_COMMAND_INDATAEXCHANGE;
    pn532_tx_buffer[1] = in_listed_tag;
    for (uint8_t i = 0; i < sendLength; ++i) {
        pn532_tx_buffer[i + 2] = send[i];
    }
    if (!pn532_send_command(pn532_tx_buffer, sendLength + 2, 1000)) {
        return false;
    }
    /* We can ignore the timeout here and only raise a warning
     * since the user doesn't necessarily know
     * how many bytes to expect in the response
     */
    if (!pn532_wait_for_rx(*responseLength+10, 1000)) {
        LOG_WRN("Timeout waiting for inDataExchange response, expected %d bytes but got %d bytes",
                *responseLength + 10,
                ring_buf_size_get(&pn532_rx_ring_buffer));
    }
    /* We can also ignore the length check here and only raise a warning
     * since the user doesn't necessarily know
     * how many bytes to expect in the response
     */
    uint8_t response_buf[128] = {0};
    uint32_t len = ring_buf_get(&pn532_rx_ring_buffer, response_buf, sizeof(response_buf));
    if (len != *responseLength + 10) {
        LOG_WRN("Failed to read inDataExchange response, Expected %d bytes but got %d",
                *responseLength + 10,
                len);
    }
    /* Verify response preamble */
    if ((response_buf[0] != PN532_PREAMBLE) ||
        (response_buf[1] != PN532_STARTCODE1) ||
        (response_buf[2] != PN532_STARTCODE2)) {
        LOG_ERR("Invalid response preamble");
        return false;
    }
    /* Verify response length */
    uint8_t length = response_buf[3];
    if (response_buf[4] != (uint8_t)(~length + 1)) {
        LOG_ERR("Length check invalid");
        LOG_DBG("Expected: 0x%02X, Got: 0x%02X", (uint8_t)(~length + 1), response_buf[4]);
        return false;
    }
    /* Verify response code */
    if ((response_buf[5] != PN532_PN532TOHOST) ||
        (response_buf[6] != PN532_RESPONSE_INDATAEXCHANGE)) {
        LOG_ERR("Invalid response code");
        return false;
    }
    /* Verify status code */
    if ((response_buf[7] & 0x3f) != 0) {
        LOG_ERR("Status code indicates an error, expected 0x00 but got 0x%02X",
                response_buf[7] & 0x3f);
        return false;
    }
    /* Save response length */
    length -= 3;
    if (length > *responseLength) {
        length = *responseLength;
    }
    *responseLength = length;
    /* Save response data */
    for (uint8_t i = 0; i < length; ++i) {
        response[i] = response_buf[8 + i];
    }
    LOG_DBG("InDataExchange OK");
    return true;
}
```

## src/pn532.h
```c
#ifndef PN532_H
#define PN532_H

#include <zephyr/device.h>

/* Firmware version structure */
struct pn532_fw_version {
    uint8_t ic;  /* PN5xx IC type (e.g. 0x32 for PN532) */
    uint8_t ver; /* Firmware version */
    uint8_t rev; /* Firmware revision */
};

/**
 * @brief Initialize the PN532 device.
 */
void pn532_init(void);

/**
 * @brief Send the wakeup sequence to the PN532 to wake it up from power-down mode.
 */
void pn532_wakeup(void);

/**
 * @brief Send the SAMConfig command to the PN532 to configure the SAM (Secure Access Module).
 * @return true if the command was successful, false otherwise.
 */
bool pn532_sam_config(void);

/**
 * @brief Set the serial baud rate of the PN532.
 * @param baudrate should be a number corresponding to
 * one of the defined baud rate values (e.g. PN532_BAUDRATE_115200).
 * @return true if the command was successful, false otherwise.
 */
bool pn532_set_serial_baudrate(uint32_t baudrate);

/**
 * @brief Send the GetFirmwareVersion command to the PN532 and parse the response.
 * @param fw_version Pointer to a pn532_fw_version struct to store the parsed firmware version.
 * @return true if the command was successful and the firmware version was parsed, false otherwise.
 */
bool pn532_get_firmware_version(struct pn532_fw_version *fw_version);

/**
 * @brief Send the InListPassiveTarget command to the PN532 to list passive targets
 * and parse the response.
 * @return true if a target was successfully in-listed, false otherwise.
 */
bool pn532_in_list_passive_target(void);

/**
 * @brief Send the InDataExchange command to the PN532 to exchange data with the inlisted target
 * and parse the response.
 * @param send Pointer to the command buffer (payload) to send (without framing).
 * @param sendLength Length of the command buffer in bytes.
 * @param response Pointer to a buffer to store the response data (without framing).
 * @param responseLength Pointer to a variable that holds the length of the response buffer.
 * Updated with actual response length on success.
 * @return true if the command was successful and a valid response was received, false otherwise.
 */
bool pn532_in_data_exchange(uint8_t *send, uint8_t sendLength, uint8_t *response, uint8_t *responseLength);

#endif /* PN532_H */
```

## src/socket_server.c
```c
/*
 * Copyright (c) 2026 Bayrem Gharsellaoui
 * SPDX-License-Identifier: Apache-2.0
 */

#include <zephyr/kernel.h>
#include <zephyr/net/socket.h>
#include <zephyr/posix/sys/socket.h>
#include <zephyr/posix/unistd.h>
#include <zephyr/logging/log.h>
LOG_MODULE_REGISTER(socket_server, LOG_LEVEL_DBG);

#include "net_sample_common.h"

static void socket_server_thread_entry(void *p1, void *p2, void *p3);

K_THREAD_DEFINE(socket_server_thread, 4096, socket_server_thread_entry, NULL, NULL, NULL, 8, 0, 0);

static void socket_server_thread_entry(void *p1, void *p2, void *p3)
{
	ARG_UNUSED(p1);
	ARG_UNUSED(p2);
	ARG_UNUSED(p3);

	/* Block thread to wait for getting an IP address from the network */
	wait_for_network();
	LOG_INF("Network is ready, starting TCP server...");

	int srv = socket(AF_INET, SOCK_STREAM, IPPROTO_TCP);

	struct sockaddr_in addr = {
		.sin_family = AF_INET,
		.sin_port = htons(8082),
		.sin_addr.s_addr = htonl(INADDR_ANY),
	};

	bind(srv, (struct sockaddr *)&addr, sizeof(addr));
	listen(srv, 1);

	while (1) {
		int client = accept(srv, NULL, NULL);

		const char response[] = "HTTP/1.1 200 OK\r\n"
					"Content-Type: text/plain\r\n"
					"Content-Length: 7\r\n"
					"\r\n"
					"Hello\r\n";

		send(client, response, sizeof(response) - 1, 0);

		close(client);
	}
}
```

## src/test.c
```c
/*
 * Copyright (c) 2026 Bayrem Gharsellaoui
 * SPDX-License-Identifier: Apache-2.0
 */
#include <zephyr/kernel.h>
#include <zephyr/device.h>
#include <zephyr/logging/log.h>
LOG_MODULE_REGISTER(test);

#include "pn532.h"

/*
 * SELECT APDU (AID selection)
 * AID = F123456789ABCDE1 (8 bytes)
 */
static const uint8_t SELECT_APDU_CMD[] = {
    0x00,  /* CLA */
    0xA4,  /* INS (SELECT) */
    0x04,  /* P1 (select by AID) */
    0x00,  /* P2 */
    0x08,  /* Lc: length = 8 bytes */
    0xF1, 0x23, 0x45, 0x67, 0x89, 0xAB, 0xCD, 0xE1, /* AID (F123456789ABCDE1) */
    0x00   /* Le */
};

int main(void) {
    const struct device *dev = DEVICE_DT_GET_ONE(nxp_pn532);

    if (!device_is_ready(dev)) {
        LOG_ERR("PN532 device not ready");
        return 0;
    }

#if 0
	/* --- SetSerialBaudRate --- */
    if (pn532_set_serial_baudrate(dev, 230400) < 0) {
        LOG_ERR("Failed to set serial baud rate");
        return 0;
    }
#endif
    /* ---- GetFirmwareVersion ---- */
    struct pn532_fw_version version = {0};
    if (pn532_get_firmware_version(dev, &version) < 0) {
        LOG_ERR("GetFirmwareVersion failed");
        return 0;
    }
    LOG_INF("Found PN5%02X", version.ic);
    LOG_INF("Firmware version: %d.%d", version.ver, version.rev);

    /* ---- InListPassiveTarget ---- */
	while (1)
	{
		if (pn532_in_list_passive_target(dev) < 0) {
			LOG_DBG("No card detected, retrying...");
			k_msleep(500);
			continue;
		}
		LOG_INF("Detected something...");
		break;
	}

    /* ---- InDataExchange ---- */
    uint8_t response[2] = {0};
    uint8_t responseLength = sizeof(response);
    if (pn532_in_data_exchange(dev,
							   (uint8_t *)SELECT_APDU_CMD,
							   sizeof(SELECT_APDU_CMD),
							   response,
							   &responseLength) < 0) {
        LOG_ERR("inDataExchange failed");
        return 0;
    }
    LOG_DBG("Received response (%d bytes):", responseLength);
    LOG_HEXDUMP_DBG(response, responseLength, "Response");
    /* We're expecting 0x90 0x00 from the Android phone HCE app */
    if ((response[0] != 0x90) || (response[1] != 0x00)) {
        LOG_ERR("SELECT APDU failed");
        return 0;
    }
    LOG_INF("SELECT APDU successful...");

    while (true) {
        k_msleep(500);
    }

    return 0;
}

void k_sys_fatal_error_handler(unsigned int reason, const struct arch_esf *esf)
{
	ARG_UNUSED(esf);
	struct k_thread *faulting_thread = NULL;

	switch (reason) {
	case K_ERR_CPU_EXCEPTION: {
		LOG_ERR("Generic CPU exception, not covered by other codes");
		break;
	}
	case K_ERR_SPURIOUS_IRQ: {
		LOG_ERR("Unhandled hardware interrupt");
		break;
	}
	case K_ERR_STACK_CHK_FAIL: {
		LOG_ERR("Faulting context overflowed its stack buffer");
		/* Get the current thread that caused the fault */
		faulting_thread = k_current_get();
		if (faulting_thread) {
			LOG_ERR("Fault occurred in thread: %s", k_thread_name_get(faulting_thread));
			LOG_ERR("Thread ID: %p", (void *)faulting_thread);
			LOG_ERR("Stack start: %p, size: %zu",
				(void *)faulting_thread->stack_info.start,
				faulting_thread->stack_info.size);
		} else {
			LOG_ERR("Could not determine faulting thread");
		}
		break;
	}
	case K_ERR_KERNEL_OOPS: {
		LOG_ERR("Moderate severity software error");
		break;
	}
	case K_ERR_KERNEL_PANIC: {
		LOG_ERR("High severity software error");
		break;
	}
	case K_ERR_ARCH_START: {
		LOG_ERR("Arch specific fatal errors");
		break;
	}
	default: {
		LOG_ERR("Unknow reason for fatal error (%d)", reason);
		break;
	}
	}

	/* Disable interrupts and halt the system */
	arch_irq_lock();
	for (;;) { /* Spin endlessly */ }
}
```

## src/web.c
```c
/*
 * Copyright (c) 2026 Bayrem Gharsellaoui
 * SPDX-License-Identifier: Apache-2.0
 */

#include <string.h>

#include <zephyr/kernel.h>
#include <zephyr/drivers/gpio.h>
#include <zephyr/net/http/server.h>
#include <zephyr/net/http/service.h>
#include <zephyr/logging/log.h>
LOG_MODULE_REGISTER(web, LOG_LEVEL_DBG);

#include "net_sample_common.h"

static void web_thread_entry(void *p1, void *p2, void *p3);
K_THREAD_DEFINE(web_thread, 4096, web_thread_entry, NULL, NULL, NULL, 8, 0, 0);

static bool led_on = false;
static const struct gpio_dt_spec led = GPIO_DT_SPEC_GET(DT_ALIAS(led0), gpios);

static const uint16_t http_service_port = 8080;
HTTP_SERVICE_DEFINE(web_service, "0.0.0.0", &http_service_port, 8, 10, NULL, NULL, NULL);

static int led_request_handler(struct http_client_ctx *client, enum http_transaction_status status,
			       const struct http_request_ctx *request_ctx,
			       struct http_response_ctx *response_ctx, void *user_data);

/* *************************** favicon.ico *************************** */
static const uint8_t favicon[] = {0};
static struct http_resource_detail_static favicon_resource_detail = {
	.common =
		{
			.type = HTTP_RESOURCE_TYPE_STATIC,
			.bitmask_of_supported_http_methods = BIT(HTTP_GET),
			.content_type = "image/x-icon",
		},
	.static_data = favicon,
	.static_data_len = sizeof(favicon),
};
HTTP_RESOURCE_DEFINE(favicon_resource, web_service, "/favicon.ico", &favicon_resource_detail);

/* *************************** index.html *************************** */
static const uint8_t index_html_gz[] = {
#include "index.html.gz.inc"
};
static struct http_resource_detail_static index_html_gz_resource_detail = {
	.common =
		{
			.type = HTTP_RESOURCE_TYPE_STATIC,
			.bitmask_of_supported_http_methods = BIT(HTTP_GET),
			.content_encoding = "gzip",
			.content_type = "text/html",
		},
	.static_data = index_html_gz,
	.static_data_len = sizeof(index_html_gz),
};
HTTP_RESOURCE_DEFINE(index_html_gz_resource, web_service, "/", &index_html_gz_resource_detail);

/* *************************** bootstrap.purged.min.css *************************** */
static const uint8_t bootstrap_purged_min_css_gz[] = {
#include "bootstrap.purged.min.css.gz.inc"
};
static struct http_resource_detail_static bootstrap_purged_min_css_gz_resource_detail = {
	.common =
		{
			.type = HTTP_RESOURCE_TYPE_STATIC,
			.bitmask_of_supported_http_methods = BIT(HTTP_GET),
			.content_encoding = "gzip",
			.content_type = "text/css",
		},
	.static_data = bootstrap_purged_min_css_gz,
	.static_data_len = sizeof(bootstrap_purged_min_css_gz),
};
HTTP_RESOURCE_DEFINE(bootstrap_purged_min_css_gz_resource, web_service, "/bootstrap.purged.min.css",
		     &bootstrap_purged_min_css_gz_resource_detail);

/* *************************** style.css *************************** */
static const uint8_t style_css_gz[] = {
#include "style.css.gz.inc"
};
static struct http_resource_detail_static style_css_gz_resource_detail = {
	.common =
		{
			.type = HTTP_RESOURCE_TYPE_STATIC,
			.bitmask_of_supported_http_methods = BIT(HTTP_GET),
			.content_encoding = "gzip",
			.content_type = "text/css",
		},
	.static_data = style_css_gz,
	.static_data_len = sizeof(style_css_gz),
};
HTTP_RESOURCE_DEFINE(style_css_gz_resource, web_service, "/style.css",
		     &style_css_gz_resource_detail);

/* *************************** script.js *************************** */
static const uint8_t script_js_gz[] = {
#include "script.js.gz.inc"
};
static struct http_resource_detail_static script_js_gz_resource_detail = {
	.common =
		{
			.type = HTTP_RESOURCE_TYPE_STATIC,
			.bitmask_of_supported_http_methods = BIT(HTTP_GET),
			.content_encoding = "gzip",
			.content_type = "application/javascript",
		},
	.static_data = script_js_gz,
	.static_data_len = sizeof(script_js_gz),
};
HTTP_RESOURCE_DEFINE(script_js_gz_resource, web_service, "/script.js",
		     &script_js_gz_resource_detail);

/* *************************** json data *************************** */
static struct http_resource_detail_static json_message_resource_detail = {
	.common =
		{
			.type = HTTP_RESOURCE_TYPE_STATIC,
			.bitmask_of_supported_http_methods = BIT(HTTP_GET),
			.content_type = "application/json",
		},
	.static_data = "{\"message\":\"HTTP server is running\"}",
	.static_data_len = sizeof("{\"message\":\"HTTP server is running\"}") - 1,
};
HTTP_RESOURCE_DEFINE(json_message_resource, web_service, "/data", &json_message_resource_detail);

/* *************************** led *************************** */
static struct http_resource_detail_dynamic led_resource_detail = {
	.common =
		{
			.type = HTTP_RESOURCE_TYPE_DYNAMIC,
			.bitmask_of_supported_http_methods = BIT(HTTP_GET) | BIT(HTTP_POST),
			.content_type = "application/json",
		},
	.cb = led_request_handler,
	.user_data = NULL,
};
HTTP_RESOURCE_DEFINE(led_resource, web_service, "/led", &led_resource_detail);
static int led_request_handler(struct http_client_ctx *client, enum http_transaction_status status,
			       const struct http_request_ctx *request_ctx,
			       struct http_response_ctx *response_ctx, void *user_data)
{
	ARG_UNUSED(user_data);
	static size_t cursor = 0;

	if (client->method == HTTP_GET) {
		static char response[32] = {'\0'};

		snprintk(response, sizeof(response), "{\"led\":%s}", led_on ? "true" : "false");
		response_ctx->status = 200;
		response_ctx->body = response;
		response_ctx->body_len = strlen(response);
		response_ctx->final_chunk = true;
	} else if (client->method == HTTP_POST) {
		static char post_payload[64] = {'\0'};

		/* Reset on abort/complete */
		if ((status == HTTP_SERVER_TRANSACTION_ABORTED) ||
			(status == HTTP_SERVER_TRANSACTION_COMPLETE)) {
			cursor = 0;
			return 0;
		}

		/* Prevent overflow */
		if ((cursor + request_ctx->data_len) >= sizeof(post_payload)) {
			cursor = 0;
			return -ENOMEM;
		}

		/* Append chunk */
		memcpy(post_payload + cursor, request_ctx->data, request_ctx->data_len);

		cursor += request_ctx->data_len;

		/* Null terminate */
		post_payload[cursor] = '\0';

		/* Wait until final chunk */
		if (status == HTTP_SERVER_REQUEST_DATA_FINAL) {
			LOG_DBG("Received JSON: %s", post_payload);
			if (strcmp(post_payload, "{\"led\":true}") == 0) {
				LOG_INF("LED ON");
				gpio_pin_set_dt(&led, 1);
				led_on = true;
			} else if (strcmp(post_payload, "{\"led\":false}") == 0) {
				LOG_INF("LED OFF");
				gpio_pin_set_dt(&led, 0);
				led_on = false;
			} else {
				LOG_WRN("Unknown payload");
			}
			cursor = 0;
		}
	}

	return 0;
}

static void web_thread_entry(void *p1, void *p2, void *p3)
{
	ARG_UNUSED(p1);
	ARG_UNUSED(p2);
	ARG_UNUSED(p3);

	/* Block thread to wait for getting an IP address from the network */
	wait_for_network();
	LOG_INF("Network is ready");

	/* Start HTTP server in a background thread */
	http_server_start();
	LOG_INF("Starting HTTP server...");

	/* Configure LED GPIO */
	if (!gpio_is_ready_dt(&led)) {
		return;
	}
	if (gpio_pin_configure_dt(&led, GPIO_OUTPUT_ACTIVE) < 0) {
		return;
	}

	while (1) {
		k_msleep(2000);
	}
}
```
